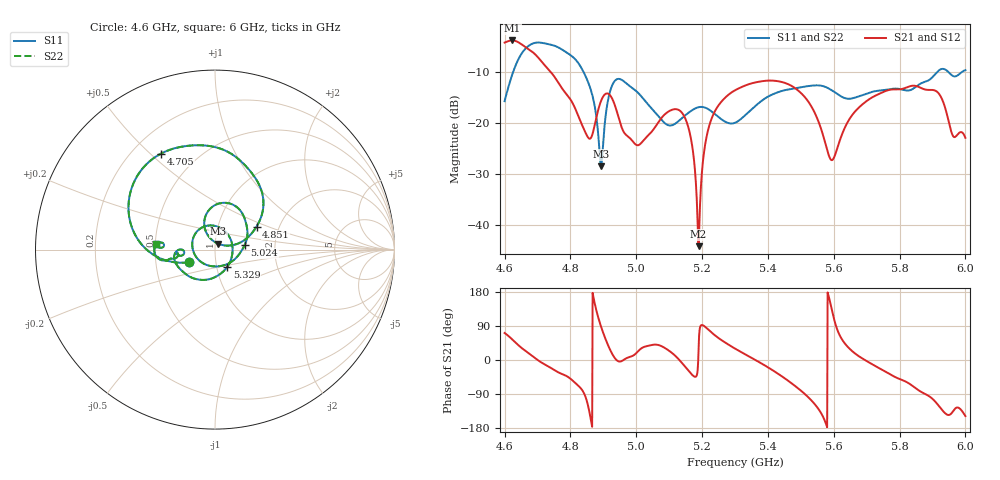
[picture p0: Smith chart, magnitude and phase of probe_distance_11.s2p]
! TOUCHSTONE file generated by CST MICROWAVE STUDIO
! Date and time: Sat Nov 30 13:10:59 2024
! Project name: test_tuning.cst
! Parameters = {airCoaxOuterDiameter=3; chamferAngle=45; chamferWidth=24; connectorLength=10; drillingHoleDiameter=4.1; feedLength=60; flareDiameter=130; flareLength=70; gratingDistance=0; gratingGap=1.90274; outletLength=30; polarizerLength=134; probe1Diameter=1.3; probe1Distance=13; probe1Length=1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
! Header version: 2024
! Port assignment regex: !\s*Touchstone port\s*([0-9]+)\s*=\s*(CST MWS port|CST DES external port|CST DES block port)\s*(.+)\s* \(\"(.*)\"\)(\s*mode\s*([0-9]+))?.*
! Touchstone port assignment:
! Touchstone port 1 = CST MWS port 1 ("Input1")
! Touchstone port 2 = CST MWS port 2 ("Input2")
# GHz S MA R 50
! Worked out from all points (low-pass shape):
!   1001 points, 4.6 GHz to 6 GHz, reference 50 ohm
!   highest |S21| = -3.83 dB at 4.624 GHz (marker M1); lowest = -44.3 dB at 5.189 GHz (marker M2)
!   |S21| within 3 dB of the highest: start of sweep to 4.697 GHz
!   lowest |S11| = -28.6 dB at 4.893 GHz (marker M3), VSWR 1.08, Z = 51.7 + j3.39 ohm
!   |S11| at or under -10 dB: start of sweep to 4.626 GHz; 4.84 GHz to 5.914 GHz (1.075 GHz wide, 20 % of centre); 5.948 GHz to 5.99 GHz (42.05 MHz wide, 0.704 % of centre)
!   |S22| runs from -28.6 to -4.2 dB; largest |S21 - S12| = 6.2e-07
!   S11 on the Smith chart (normalised r, x): 4.6 GHz: 0.74, -0.11; 4.705 GHz: 0.32, +0.54; 4.851 GHz: 1.53, +0.42; 5.024 GHz: 1.40, +0.08; 5.329 GHz: 1.13, -0.22; 6 GHz: 0.51, +0.04
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4.6  0.1629 -153.9  0.6134 71.3  0.6134 71.3  0.1629 -153.9
4.6238  0.3015 -170.0  0.6434 53.8  0.6434 53.8  0.3015 -170.0
4.663  0.5329 154.8  0.5553 24.3  0.5553 24.3  0.5329 154.8
4.705  0.6136 119.3  0.426 -2.8  0.426 -2.8  0.6136 119.3
4.8338  0.343 39.1  0.09753 -77.2  0.09754 -77.2  0.343 39.1
4.8506  0.265 29.0  0.07435 -110.5  0.07435 -110.5  0.265 29.0
4.8926  0.03721 61.5  0.1626 89.2  0.1626 89.2  0.03721 61.5
4.9346  0.2574 85.2  0.1497 5.3  0.1497 5.3  0.2574 85.2
5.0242  0.1679 9.0  0.06844 34.6  0.06844 34.6  0.1679 9.0
5.0676  0.1155 -34.5  0.1016 39.5  0.1016 39.5  0.1155 -34.5
5.1488  0.1182 -170.0  0.1104 -18.2  0.1104 -18.2  0.1182 -170.0
5.1698  0.1328 162.0  0.05952 -39.2  0.05952 -39.2  0.1328 162.0
5.1894  0.1421 136.8  0.006126 31.2  0.006126 31.2  0.1421 136.8
5.223  0.1332 92.3  0.09654 77.1  0.09654 77.1  0.1332 92.3
5.3  0.09989 -17.0  0.2084 30.1  0.2084 30.1  0.09989 -17.0
5.3294  0.1174 -53.9  0.231 15.9  0.231 15.9  0.1174 -53.9
5.5338  0.2315 -161.2  0.1413 -108.2  0.1413 -108.2  0.2315 -161.2
5.5954  0.2071 -179.1  0.043 128.3  0.043 128.3  0.2071 -179.1
5.6612  0.1753 -172.0  0.125 19.6  0.125 19.6  0.1753 -172.0
5.7676  0.2127 -172.9  0.2099 -35.7  0.2099 -35.7  0.2127 -172.9
5.9104  0.3062 -169.1  0.2053 -111.7  0.2053 -111.7  0.3062 -169.1
6  0.3287 174.5  0.07106 -148.0  0.07106 -148.0  0.3287 174.5
